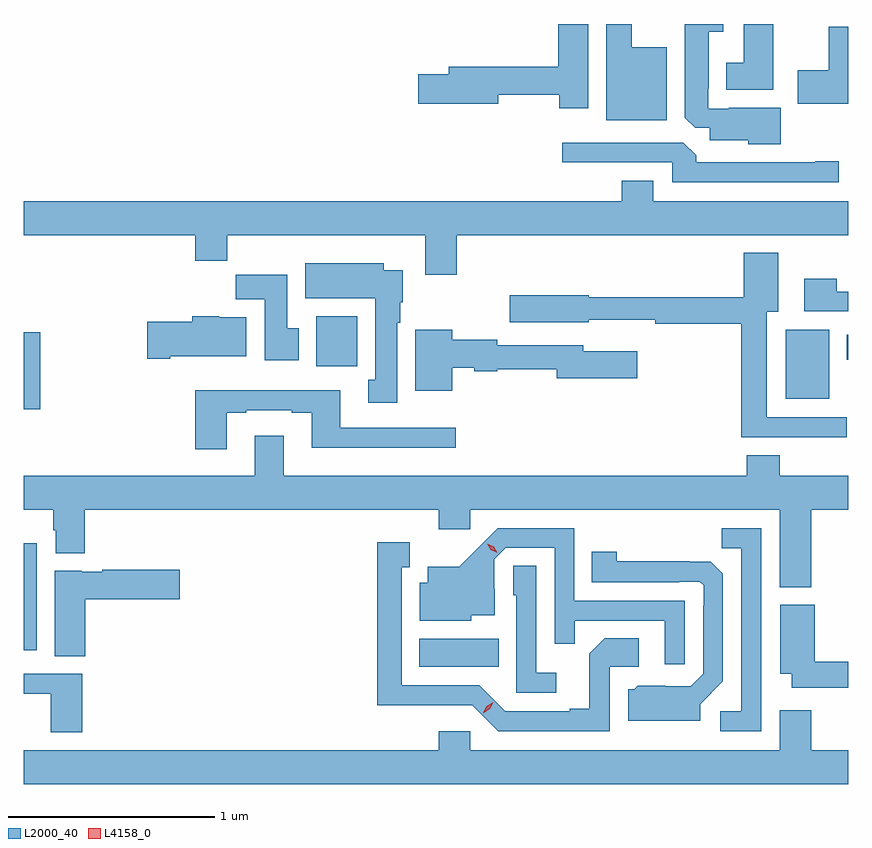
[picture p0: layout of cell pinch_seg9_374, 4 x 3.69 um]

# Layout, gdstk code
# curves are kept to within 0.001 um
import gdstk
lib = gdstk.Library(unit=1e-6, precision=1e-09)
def R(c, l, rs):  # rectangles x0, y0, x1, y1
    for r in rs: c.add(gdstk.rectangle(r[:2], r[2:], *l))
def P(c, l, *ps):  # polygons
    for p in ps: c.add(gdstk.Polygon(p, *l))
L2000_40 = (2000, 40)
L4158_0 = (4158, 0)

pinch_seg9_374 = lib.new_cell('pinch_seg9_374')
R(pinch_seg9_374, L2000_40, [(326.735,1235.618,327.122,1235.752), (324.817,1235.696,324.88,1236.217), (324.817,1236.867,324.896,1237.24), (328.514,1236.917,328.726,1237.252), (326.237,1237.076,326.434,1237.318), (328.811,1237.106,328.817,1237.228)])
P(pinch_seg9_374, L2000_40, [(327.937,1238.623),(327.766,1238.623),(327.766,1238.736),(327.644,1238.736),(327.644,1238.27),(327.937,1238.27)],
  [(328.489,1238.329),(328.237,1238.329),(328.237,1238.325),(328.137,1238.325),(328.137,1238.425),(328.141,1238.425),(328.141,1238.699),(328.21,1238.699),(328.21,1238.736),(328.025,1238.736),(328.025,1238.281),(328.074,1238.232),(328.145,1238.232),(328.145,1238.171),(328.332,1238.171),(328.332,1238.153),(328.489,1238.153)],
  [(327.556,1238.736),(327.41,1238.736),(327.41,1238.528),(326.879,1238.528),(326.879,1238.492),(326.73,1238.492),(326.73,1238.35),(327.118,1238.35),(327.118,1238.392),(327.415,1238.392),(327.415,1238.328),(327.556,1238.328)],
  [(328.453,1238.736),(328.31,1238.736),(328.31,1238.548),(328.226,1238.548),(328.226,1238.417),(328.453,1238.417)],
  [(328.817,1238.722),(328.724,1238.722),(328.724,1238.511),(328.572,1238.511),(328.572,1238.348),(328.817,1238.348)],
  [(328.771,1238.069),(328.658,1238.069),(328.658,1238.064),(328.079,1238.064),(328.079,1238.098),(328.017,1238.16),(327.429,1238.16),(327.429,1238.064),(327.963,1238.064),(327.963,1237.968),(328.771,1237.968)],
  [(326.918,1237.712),(328.817,1237.712),(328.817,1237.876),(327.871,1237.876),(327.871,1237.975),(327.719,1237.975),(327.719,1237.876),(324.817,1237.876),(324.817,1237.712),(325.649,1237.712),(325.649,1237.588),(325.805,1237.588),(325.805,1237.712),(326.765,1237.712),(326.765,1237.518),(326.918,1237.518)],
  [(328.81,1236.828),(328.423,1236.828),(328.423,1237.34),(328.477,1237.34),(328.477,1237.627),(328.31,1237.627),(328.31,1237.411),(327.558,1237.411),(327.558,1237.419),(327.174,1237.419),(327.174,1237.289),(327.558,1237.289),(327.558,1237.301),(327.88,1237.301),(327.88,1237.282),(328.298,1237.282),(328.298,1236.731),(328.81,1236.731)],
  [(326.629,1237.286),(326.644,1237.286),(326.644,1237.386),(326.656,1237.386),(326.656,1237.54),(326.563,1237.54),(326.563,1237.576),(326.183,1237.576),(326.183,1237.406),(326.522,1237.406),(326.522,1237.01),(326.489,1237.01),(326.489,1236.897),(326.629,1236.897)],
  [(326.152,1237.26),(326.095,1237.26),(326.095,1237.518),(325.846,1237.518),(325.846,1237.4),(325.985,1237.4),(325.985,1237.104),(326.152,1237.104)],
  [(328.817,1237.437),(328.761,1237.437),(328.761,1237.501),(328.605,1237.501),(328.605,1237.341),(328.817,1237.341)],
  [(325.528,1237.124),(325.897,1237.124),(325.897,1237.312),(325.764,1237.312),(325.764,1237.318),(325.634,1237.318),(325.634,1237.29),(325.416,1237.29),(325.416,1237.112),(325.528,1237.112)],
  [(326.896,1237.067),(327.003,1237.067),(327.003,1237.052),(327.114,1237.052),(327.114,1237.06),(327.404,1237.06),(327.404,1237.018),(327.793,1237.018),(327.793,1237.147),(327.532,1237.147),(327.532,1237.176),(327.114,1237.176),(327.114,1237.204),(326.896,1237.204),(326.896,1237.252),(326.717,1237.252),(326.717,1236.956),(326.896,1236.956)],
  [(325.801,1236.849),(325.897,1236.849),(325.897,1236.861),(326.117,1236.861),(326.117,1236.849),(326.213,1236.849),(326.213,1236.68),(326.914,1236.68),(326.914,1236.777),(326.353,1236.777),(326.353,1236.958),(325.649,1236.958),(325.649,1236.672),(325.801,1236.672)],
  [(328.637,1236.38),(328.817,1236.38),(328.817,1236.544),(328.485,1236.544),(328.485,1236.643),(328.325,1236.643),(328.325,1236.544),(326.077,1236.544),(326.077,1236.739),(325.937,1236.739),(325.937,1236.544),(324.817,1236.544),(324.817,1236.38),(324.959,1236.38),(324.959,1236.279),(324.971,1236.279),(324.971,1236.167),(325.112,1236.167),(325.112,1236.38),(326.831,1236.38),(326.831,1236.285),(326.982,1236.285),(326.982,1236.38),(328.484,1236.38),(328.484,1236.002),(328.637,1236.002)],
  [(328.395,1236.288),(328.204,1236.288),(328.204,1236.193),(328.299,1236.193),(328.299,1235.4),(328.197,1235.4),(328.197,1235.304),(328.395,1235.304)],
  [(328.023,1235.937),(327.489,1235.937),(327.489,1236.288),(327.116,1236.288),(326.929,1236.103),(326.777,1236.103),(326.777,1236.025),(326.738,1236.025),(326.738,1235.84),(326.988,1235.84),(326.988,1235.867),(327.103,1235.867),(327.103,1235.996),(327.099,1235.996),(327.099,1236.138),(327.156,1236.195),(327.393,1236.195),(327.393,1235.728),(327.491,1235.728),(327.491,1235.841),(327.927,1235.841),(327.927,1235.628),(328.023,1235.628)],
  [(327.66,1235.616),(327.802,1235.616),(327.802,1235.756),(327.637,1235.756),(327.561,1235.68),(327.561,1235.413),(327.467,1235.413),(327.467,1235.4),(327.153,1235.4),(327.027,1235.526),(326.65,1235.526),(326.65,1236.099),(326.689,1236.099),(326.689,1236.22),(326.532,1236.22),(326.532,1235.429),(326.994,1235.43),(327.12,1235.304),(327.66,1235.304)],
  [(328.099,1235.436),(328.209,1235.546),(328.209,1236.068),(328.15,1236.127),(327.693,1236.128),(327.693,1236.175),(327.574,1236.175),(327.574,1236.027),(327.998,1236.027),(327.998,1236.03),(328.098,1236.03),(328.116,1236.012),(328.116,1235.912),(328.113,1235.912),(328.113,1235.583),(328.053,1235.523),(327.796,1235.524),(327.78,1235.508),(327.749,1235.508),(327.749,1235.354),(328.099,1235.354)],
  [(327.4,1235.587),(327.303,1235.587),(327.303,1236.107),(327.192,1236.107),(327.192,1235.964),(327.207,1235.964),(327.207,1235.49),(327.4,1235.49)],
  [(325.115,1235.945),(325.573,1235.945),(325.573,1236.087),(325.198,1236.087),(325.198,1236.079),(325.098,1236.079),(325.098,1236.082),(324.968,1236.082),(324.968,1235.668),(325.115,1235.668)],
  [(328.817,1235.642),(328.654,1235.642),(328.654,1235.917),(328.487,1235.917),(328.487,1235.582),(328.544,1235.582),(328.544,1235.514),(328.817,1235.514)],
  [(325.1,1235.583),(324.817,1235.583),(324.817,1235.487),(324.947,1235.487),(324.947,1235.298),(325.1,1235.298)],
  [(328.817,1235.212),(328.637,1235.212),(328.637,1235.407),(328.484,1235.407),(328.484,1235.212),(326.982,1235.212),(326.982,1235.305),(326.831,1235.305),(326.831,1235.212),(324.817,1235.212),(324.817,1235.048),(328.817,1235.048)])
P(pinch_seg9_374, L4158_0, [(327.114,1236.169),(327.083,1236.185),(327.066,1236.214),(327.066,1236.215),(327.066,1236.215),(327.097,1236.199),(327.114,1236.17),(327.114,1236.169)],
  [(327.046,1235.392),(327.046,1235.393),(327.063,1235.425),(327.095,1235.444),(327.095,1235.444),(327.095,1235.444),(327.078,1235.412),(327.046,1235.392)])

lib.write_gds('pinch_seg9_374.gds')
